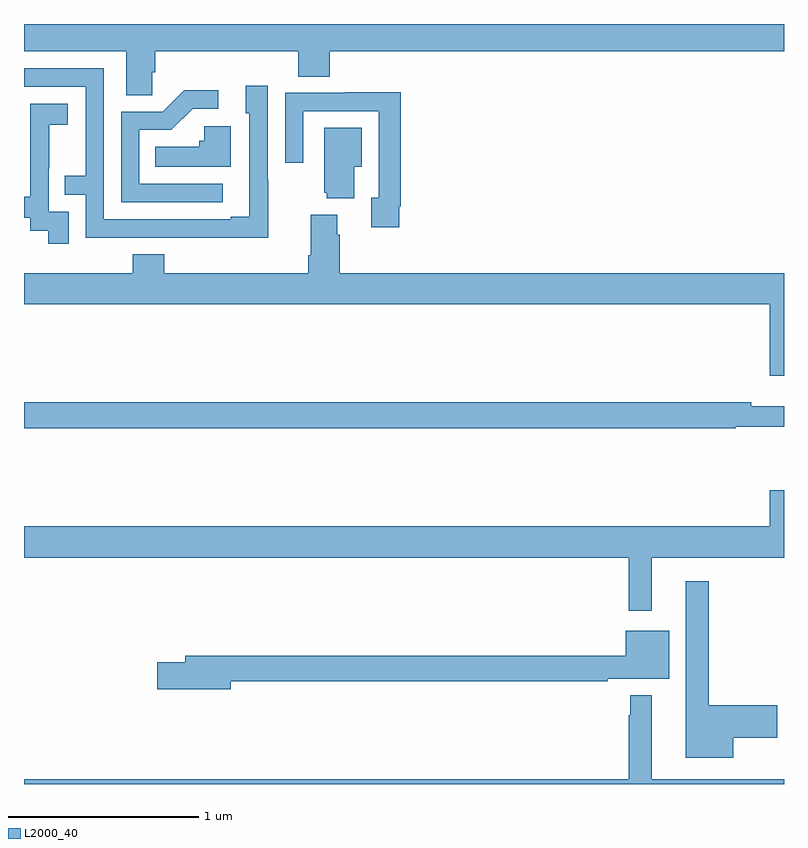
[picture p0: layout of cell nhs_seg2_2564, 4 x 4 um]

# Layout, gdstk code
import gdstk
lib = gdstk.Library(unit=1e-6, precision=1e-09)
def P(c, l, *ps):  # polygons
    for p in ps: c.add(gdstk.Polygon(p, *l))
L2000_40 = (2000, 40)

nhs_seg2_2564 = lib.new_cell('nhs_seg2_2564')
P(nhs_seg2_2564, L2000_40, [(245.676,627.547),(245.69,627.547),(245.69,627.656),(246.443,627.656),(246.443,627.523),(246.608,627.523),(246.608,627.656),(249,627.656),(249,627.8),(245,627.8),(245,627.656),(245.537,627.656),(245.537,627.424),(245.676,627.424)],
  [(246.285,626.981),(246.282,626.981),(246.282,627.475),(246.167,627.475),(246.167,627.33),(246.186,627.33),(246.186,626.785),(246.089,626.785),(246.089,626.772),(245.421,626.772),(245.421,627.567),(245,627.567),(245,627.471),(245.325,627.471),(245.325,627.002),(245.215,627.002),(245.215,626.901),(245.325,626.901),(245.325,626.676),(245.821,626.676),(245.821,626.675),(246.285,626.675)],
  [(246.046,626.958),(245.607,626.958),(245.607,627.243),(245.776,627.243),(245.887,627.354),(246.022,627.354),(246.022,627.452),(245.843,627.452),(245.73,627.339),(245.511,627.339),(245.511,626.862),(246.046,626.862)],
  [(246.976,626.842),(246.983,626.842),(246.983,627.44),(246.691,627.44),(246.691,627.438),(246.375,627.438),(246.375,627.069),(246.471,627.069),(246.471,627.342),(246.867,627.342),(246.867,626.886),(246.827,626.886),(246.827,626.73),(246.976,626.73)],
  [(245.235,626.811),(245.13,626.811),(245.13,627.041),(245.132,627.041),(245.132,627.269),(245.23,627.269),(245.23,627.379),(245.032,627.379),(245.032,627.173),(245.033,627.173),(245.033,626.89),(245,626.89),(245,626.781),(245.034,626.781),(245.034,626.713),(245.127,626.713),(245.127,626.643),(245.235,626.643)],
  [(246.088,627.262),(245.949,627.262),(245.949,627.186),(245.923,627.186),(245.923,627.154),(245.692,627.154),(245.692,627.05),(246.088,627.05)],
  [(246.739,627.05),(246.778,627.05),(246.778,627.253),(246.581,627.253),(246.581,626.913),(246.593,626.913),(246.593,626.882),(246.739,626.882)],
  [(249,626.488),(246.662,626.488),(246.662,626.69),(246.649,626.69),(246.649,626.797),(246.509,626.797),(246.509,626.584),(246.497,626.584),(246.497,626.488),(245.738,626.488),(245.738,626.587),(245.573,626.587),(245.573,626.488),(245,626.488),(245,626.324),(248.924,626.324),(248.924,625.95),(249,625.95)],
  [(248.745,625.68),(249,625.68),(249,625.789),(248.828,625.789),(248.828,625.808),(245,625.808),(245,625.672),(248.745,625.672)],
  [(248.305,624.992),(249,624.992),(249,625.345),(248.924,625.345),(248.924,625.156),(245,625.156),(245,624.992),(248.184,624.992),(248.184,624.711),(248.305,624.711)],
  [(248.734,624.044),(248.965,624.044),(248.965,624.215),(248.605,624.215),(248.605,624.868),(248.483,624.868),(248.483,623.939),(248.734,623.939)],
  [(246.088,624.34),(248.072,624.34),(248.072,624.353),(248.395,624.353),(248.395,624.607),(248.168,624.607),(248.168,624.476),(245.849,624.476),(245.849,624.44),(245.7,624.44),(245.7,624.298),(246.088,624.298)],
  [(249,623.824),(248.305,623.824),(248.305,624.268),(248.19,624.268),(248.19,624.161),(248.184,624.161),(248.184,623.824),(245,623.824),(245,623.8),(249,623.8)])

lib.write_gds('nhs_seg2_2564.gds')
